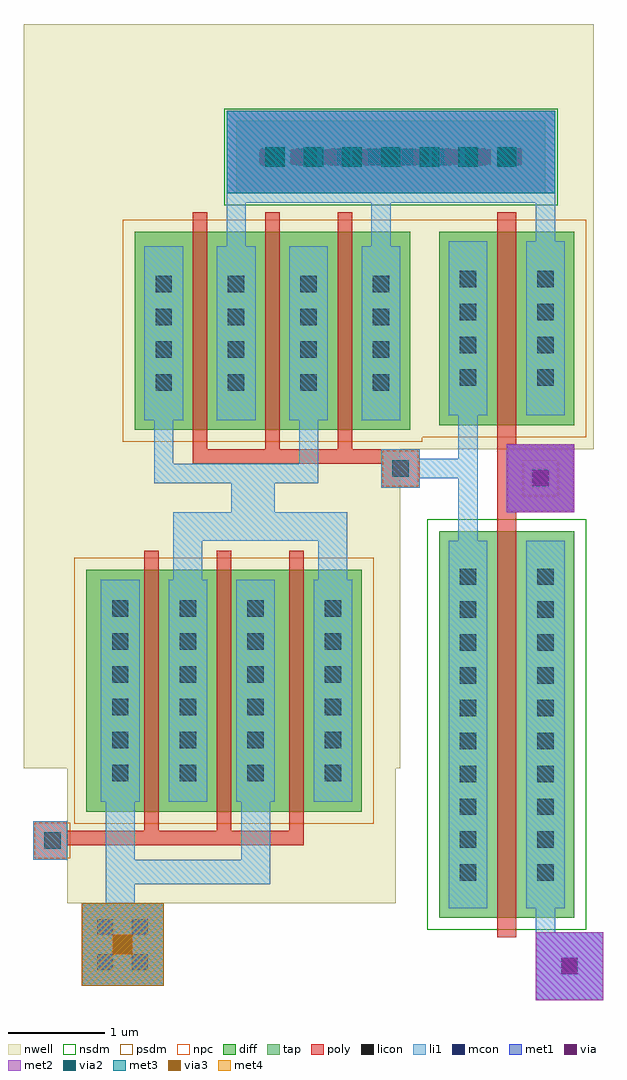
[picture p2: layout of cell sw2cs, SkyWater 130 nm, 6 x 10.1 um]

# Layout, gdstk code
import gdstk
lib = gdstk.Library(unit=1e-6, precision=1e-09)
def R(c, l, rs):  # rectangles x0, y0, x1, y1
    for r in rs: c.add(gdstk.rectangle(r[:2], r[2:], *l))
def A(c, l, x, y, w, h, nx, ny, dx, dy):  # array of equal rectangles
    R(c, l, [(x+i*dx, y+j*dy, x+i*dx+w, y+j*dy+h) for i in range(nx) for j in range(ny)])
nwell = (64, 20)
diff = (65, 20)
tap = (65, 44)
poly = (66, 20)
licon = (66, 44)
li1 = (67, 20)
mcon = (67, 44)
met1 = (68, 20)
via = (68, 44)
met2 = (69, 20)
via2 = (69, 44)
met3 = (70, 20)
via3 = (70, 44)
met4 = (71, 20)
nsdm = (93, 44)
psdm = (94, 20)
npc = (95, 20)

sw2cs = lib.new_cell('sw2cs')
R(sw2cs, nwell, [(-5.9,5.65,-2.5,7.05), (-6.35,7.05,-2.45,10.35), (-6.35,10.35,-0.45,14.75)])
R(sw2cs, diff, [(-2.05,5.5,-0.65,9.5), (-5.7,6.6,-2.85,9.1), (-5.2,10.55,-2.35,12.6), (-2.05,10.6,-0.65,12.6)])
R(sw2cs, tap, [(-4.15,13,-0.95,13.75)])
A(sw2cs, poly, -5.1, 6.4, 0.15, 2.9, 3, 1, 0.75, 0)
A(sw2cs, poly, -4.6, 10.35, 0.15, 2.45, 3, 1, 0.75, 0)
R(sw2cs, poly, [(-1.45,5.3,-1.25,9.7), (-6.25,6.1,-5.9,6.25), (-6.25,6.25,-3.45,6.4), (-6.25,6.4,-5.9,6.5), (-1.45,9.7,-0.65,10.4), (-2.65,9.95,-2.25,10.2), (-4.6,10.2,-2.25,10.35), (-1.45,10.4,-1.25,12.8)])
A(sw2cs, licon, -1.835, 5.885, 0.17, 0.17, 1, 10, 0, 0.34)
A(sw2cs, licon, -1.035, 5.885, 0.17, 0.17, 1, 10, 0, 0.34)
A(sw2cs, licon, -5.435, 6.915, 0.17, 0.17, 3, 6, 0.7, 0.34)
A(sw2cs, licon, -3.235, 6.915, 0.17, 0.17, 1, 6, 0, 0.34)
A(sw2cs, licon, -4.985, 10.955, 0.17, 0.17, 4, 4, 0.75, 0.34)
A(sw2cs, licon, -1.835, 11.005, 0.17, 0.17, 1, 4, 0, 0.34)
A(sw2cs, licon, -1.035, 11.005, 0.17, 0.17, 1, 4, 0, 0.34)
A(sw2cs, licon, -3.825, 13.29, 0.17, 0.17, 8, 1, 0.34, 0)
R(sw2cs, licon, [(-6.135,6.215,-5.965,6.385), (-1.085,9.965,-0.915,10.135), (-2.535,10.065,-2.365,10.235)])
A(sw2cs, li1, -5.55, 6.7, 0.4, 2.3, 3, 1, 0.7, 0)
A(sw2cs, li1, -5.1, 10.65, 0.4, 1.8, 4, 1, 0.75, 0)
R(sw2cs, li1, [(-1.05,4.65,-0.35,5.35), (-5.75,4.8,-4.9,5.65), (-1.05,5.35,-0.85,5.6), (-1.95,5.6,-1.55,9.4), (-1.15,5.6,-0.75,9.4), (-5.5,5.65,-5.2,5.85), (-5.5,5.85,-3.8,6.1), (-6.25,6.1,-5.9,6.5), (-5.5,6.1,-5.2,6.7), (-4.1,6.1,-3.8,6.7), (-3.35,6.7,-2.95,9), (-4.8,9,-4.5,9.4), (-3.3,9,-3,9.4), (-4.8,9.4,-3,9.7), (-1.85,9.4,-1.65,10.05), (-4.2,9.7,-3.75,10), (-1.35,9.7,-0.65,10.4), (-2.65,9.95,-2.25,10.05), (-5,10,-3.3,10.2), (-2.65,10.05,-1.65,10.25), (-5,10.2,-4.8,10.65), (-3.5,10.2,-3.3,10.65), (-2.65,10.25,-2.25,10.35), (-1.85,10.25,-1.65,10.7), (-1.95,10.7,-1.55,12.5), (-1.15,10.7,-0.75,12.5), (-4.25,12.45,-4.05,12.9), (-2.75,12.45,-2.55,12.9), (-1.05,12.5,-0.85,12.9), (-4.25,12.9,-0.85,13.85)])
A(sw2cs, mcon, -3.895, 13.29, 0.17, 0.17, 8, 1, 0.36, 0)
R(sw2cs, mcon, [(-0.785,4.915,-0.615,5.085), (-5.59,4.96,-5.42,5.13), (-5.23,4.96,-5.06,5.13), (-5.59,5.32,-5.42,5.49), (-5.23,5.32,-5.06,5.49), (-1.085,9.965,-0.915,10.135)])
R(sw2cs, met1, [(-1.05,4.65,-0.35,5.35), (-5.75,4.8,-4.9,5.65), (-1.35,9.7,-0.65,10.4), (-4.25,13,-0.85,13.85)])
A(sw2cs, via, -3.905, 13.3, 0.15, 0.15, 9, 1, 0.32, 0)
R(sw2cs, via, [(-0.775,4.925,-0.625,5.075), (-5.4,5.15,-5.25,5.3), (-1.075,9.975,-0.925,10.125)])
R(sw2cs, met2, [(-1.05,4.65,-0.35,5.35), (-5.75,4.8,-4.9,5.65), (-1.35,9.7,-0.65,10.4), (-4.25,13,-0.85,13.85)])
A(sw2cs, via2, -3.85, 13.275, 0.2, 0.2, 7, 1, 0.4, 0)
R(sw2cs, via2, [(-5.425,5.125,-5.225,5.325)])
R(sw2cs, met3, [(-5.75,4.8,-4.9,5.65), (-4.25,13,-0.85,13.85)])
R(sw2cs, via3, [(-5.425,5.125,-5.225,5.325)])
R(sw2cs, met4, [(-5.75,4.8,-4.9,5.65)])
R(sw2cs, nsdm, [(-2.175,5.375,-0.525,9.625), (-4.275,12.875,-0.825,13.875)])
R(sw2cs, psdm, [(-5.825,6.475,-2.725,9.225), (-5.325,10.425,-2.225,10.475), (-5.325,10.475,-0.525,12.725)])
R(sw2cs, npc, [(-6.235,6.115,-5.865,6.485), (-1.185,9.865,-0.815,10.235), (-2.635,9.965,-2.265,10.335)])

lib.write_gds('sw2cs.gds')
